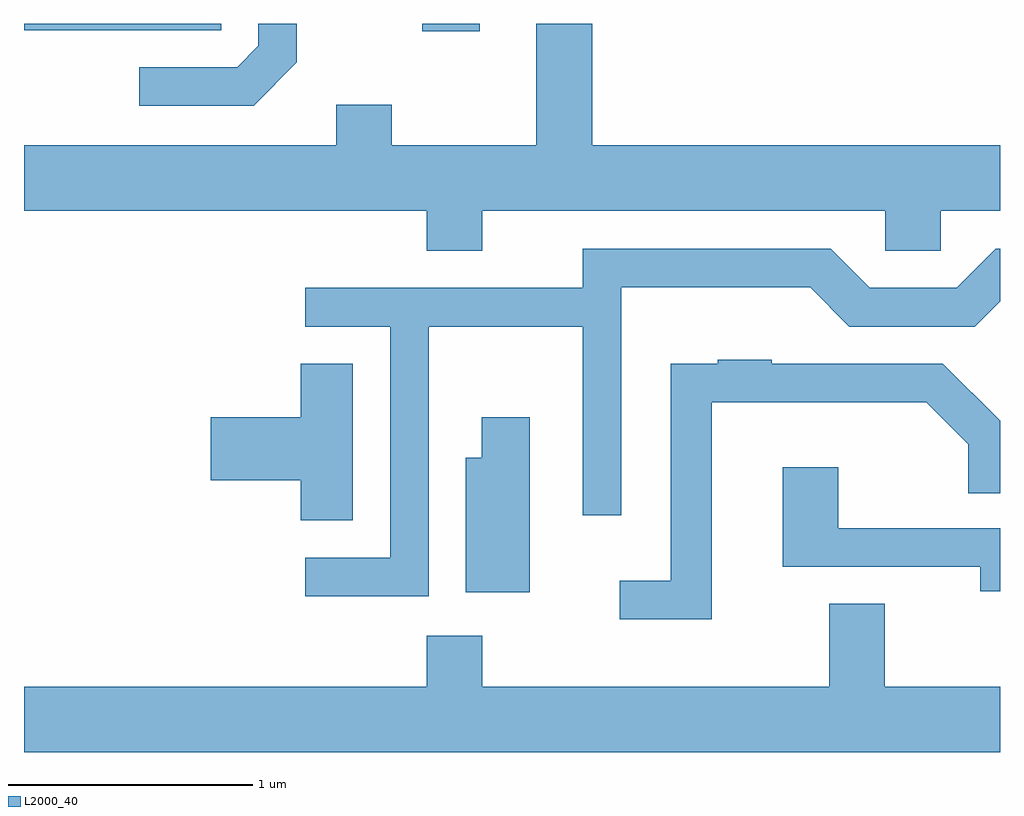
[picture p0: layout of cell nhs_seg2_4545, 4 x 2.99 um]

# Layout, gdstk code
import gdstk
lib = gdstk.Library(unit=1e-6, precision=1e-09)
def R(c, l, rs):  # rectangles x0, y0, x1, y1
    for r in rs: c.add(gdstk.rectangle(r[:2], r[2:], *l))
def P(c, l, *ps):  # polygons
    for p in ps: c.add(gdstk.Polygon(p, *l))
L2000_40 = (2000, 40)

nhs_seg2_4545 = lib.new_cell('nhs_seg2_4545')
R(nhs_seg2_4545, L2000_40, [(321.243,995.771,321.479,995.802), (319.611,995.776,320.419,995.802)])
P(nhs_seg2_4545, L2000_40, [(321.489,995.036),(323.141,995.036),(323.141,994.871),(323.369,994.871),(323.369,995.036),(323.611,995.036),(323.611,995.304),(321.939,995.304),(321.939,995.802),(321.711,995.802),(321.711,995.304),(321.119,995.304),(321.119,995.469),(320.891,995.469),(320.891,995.304),(319.611,995.304),(319.611,995.036),(321.261,995.036),(321.261,994.871),(321.489,994.871)],
  [(320.729,995.644),(320.729,995.802),(320.571,995.802),(320.571,995.712),(320.484,995.624),(320.083,995.624),(320.083,995.466),(320.552,995.466)],
  [(321.269,994.561),(321.901,994.561),(321.901,993.788),(322.059,993.788),(322.059,994.721),(322.834,994.721),(322.994,994.561),(323.507,994.561),(323.611,994.665),(323.611,994.879),(323.594,994.879),(323.434,994.719),(323.077,994.719),(322.917,994.879),(321.901,994.879),(321.901,994.719),(320.763,994.719),(320.763,994.561),(321.111,994.561),(321.111,993.614),(320.763,993.614),(320.763,993.456),(321.269,993.456)],
  [(322.429,994.251),(323.309,994.251),(323.481,994.079),(323.481,993.878),(323.611,993.878),(323.611,994.175),(323.377,994.409),(322.675,994.409),(322.675,994.424),(322.455,994.424),(322.455,994.409),(322.261,994.409),(322.261,993.519),(322.053,993.519),(322.053,993.361),(322.429,993.361)],
  [(320.959,994.409),(320.746,994.409),(320.746,994.189),(320.376,994.189),(320.376,993.931),(320.746,993.931),(320.746,993.766),(320.959,993.766)],
  [(321.684,994.189),(321.486,994.189),(321.486,994.024),(321.421,994.024),(321.421,993.471),(321.684,993.471)],
  [(323.611,993.734),(322.949,993.734),(322.949,993.984),(322.721,993.984),(322.721,993.576),(323.531,993.576),(323.531,993.476),(323.611,993.476)],
  [(323.611,993.084),(323.139,993.084),(323.139,993.424),(322.911,993.424),(322.911,993.084),(321.489,993.084),(321.489,993.294),(321.261,993.294),(321.261,993.084),(319.611,993.084),(319.611,992.816),(323.611,992.816)])

lib.write_gds('nhs_seg2_4545.gds')
